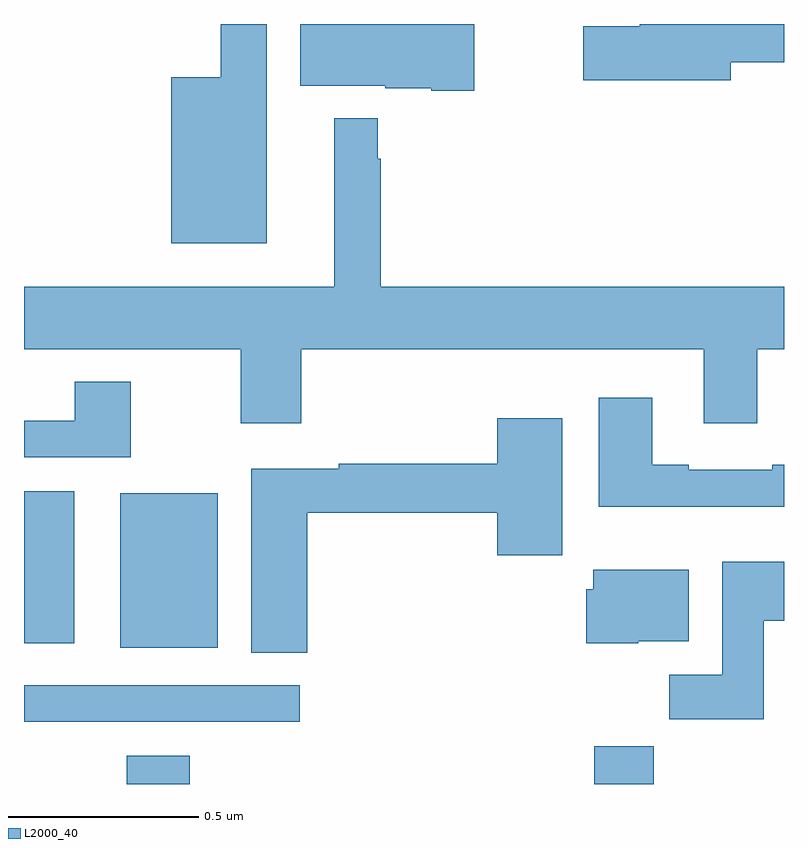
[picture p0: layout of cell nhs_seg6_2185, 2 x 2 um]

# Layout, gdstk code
import gdstk
lib = gdstk.Library(unit=1e-6, precision=1e-09)
def R(c, l, rs):  # rectangles x0, y0, x1, y1
    for r in rs: c.add(gdstk.rectangle(r[:2], r[2:], *l))
def P(c, l, *ps):  # polygons
    for p in ps: c.add(gdstk.Polygon(p, *l))
L2000_40 = (2000, 40)

nhs_seg6_2185 = lib.new_cell('nhs_seg6_2185')
R(nhs_seg6_2185, L2000_40, [(139.271,971.5,139.436,971.575), (140.501,971.5,140.657,971.6), (139,971.664,139.726,971.76), (139.253,971.858,139.51,972.265), (139,971.87,139.132,972.271)])
P(nhs_seg6_2185, L2000_40, [(140.86,973.399),(141,973.399),(141,973.5),(140.621,973.5),(140.621,973.494),(140.472,973.494),(140.472,973.352),(140.86,973.352)],
  [(140.185,973.5),(139.727,973.5),(139.727,973.337),(139.95,973.337),(139.95,973.331),(140.072,973.331),(140.072,973.325),(140.185,973.325)],
  [(139.639,973.5),(139.518,973.5),(139.518,973.36),(139.388,973.36),(139.388,972.923),(139.639,972.923)],
  [(139.73,972.644),(140.789,972.644),(140.789,972.45),(140.929,972.45),(140.929,972.644),(141,972.644),(141,972.808),(139.939,972.808),(139.939,973.145),(139.931,973.145),(139.931,973.252),(139.817,973.252),(139.817,972.808),(139,972.808),(139,972.644),(139.57,972.644),(139.57,972.45),(139.73,972.45)],
  [(139.281,972.559),(139.133,972.559),(139.133,972.456),(139,972.456),(139,972.36),(139.281,972.36)],
  [(141,972.34),(140.969,972.34),(140.969,972.327),(140.749,972.327),(140.749,972.34),(140.653,972.34),(140.653,972.517),(140.513,972.517),(140.513,972.23),(141,972.23)],
  [(139.745,972.214),(140.246,972.214),(140.246,972.102),(140.416,972.102),(140.416,972.463),(140.246,972.463),(140.246,972.343),(139.828,972.343),(139.828,972.33),(139.598,972.33),(139.598,971.845),(139.745,971.845)],
  [(140.947,971.929),(141,971.929),(141,972.085),(140.837,972.085),(140.837,971.788),(140.698,971.788),(140.698,971.67),(140.947,971.67)],
  [(140.616,971.876),(140.749,971.876),(140.749,972.064),(140.498,972.064),(140.498,972.012),(140.48,972.012),(140.48,971.87),(140.616,971.87)])

lib.write_gds('nhs_seg6_2185.gds')
